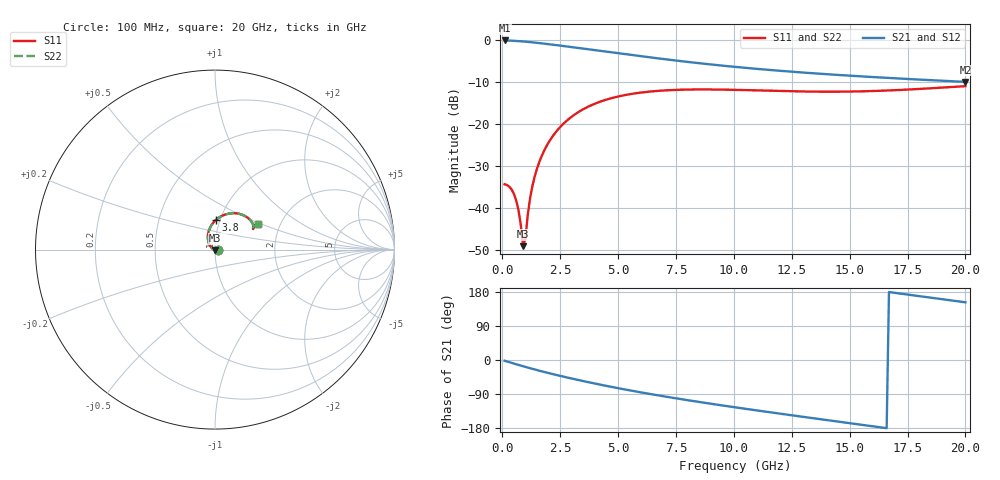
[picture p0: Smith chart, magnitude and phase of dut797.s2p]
! Touchstone file exported from HFSS 2024.1.0
!  File:  C:/UserFiles/LocalFiles/RDL_TSV_Batchsim/temp_RDL_TSV_797_1779909538.aedt
!  Generated:  03:33:20 AM May 28, 2026
!  Design:  RDL_TSV
!  Project:  temp_RDL_TSV_797_1779909538
!  Setup:  Setup1
!  Solution:  Sweep
! Variables:
!  dtsv = 10.74um
!  hbump = 3um
!  htsv = 93.68um
!  ldown = 563.17um
!  lrdl = 249.95um
!  p = 40
!  p1 = 47.62um
!  rhole = 10um
!  subl = 2689.31um
!  t = 450um
!  tdown = 2.55um
!  trdl = 3.53um
!  viad = 10um
!  wdown = 15.8um
!  wrdl = 25.09um
!  xbump = 18um
# GHz S MA R 50.000000
! Terminal data exported
! Port[1] = TM1_1_T1
! Port[2] = TM1_4_T1
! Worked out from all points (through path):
!   200 points, 100 MHz to 20 GHz, reference 50 ohm
!   highest |S21| = -0.17 dB at 100 MHz (marker M1); lowest = -10.0 dB at 20 GHz (marker M2)
!   group delay of S21, straight-line fit = 27 ps
!   lowest |S11| = -49.1 dB at 900 MHz (marker M3), VSWR 1.01, Z = 50 - j0.351 ohm
!   |S11| at or under -10 dB: start of sweep to end of sweep
!   |S22| runs from -49.1 to -11.1 dB; largest |S21 - S12| = 1.5e-14
!   S11 on the Smith chart (normalised r, x): 100 MHz: 1.04, -0.00; 3.8 GHz: 0.96, +0.32; 20 GHz: 1.54, +0.48
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0.1  0.01912 -2.5  0.9802 -1.9  0.9802 -1.9  0.01912 -2.5
! Gamma 0 0 0 0
! Port Impedance 50 0 50 0
0.4  0.01661 -13.5  0.9738 -7.6  0.9738 -7.6  0.01661 -13.5
0.6  0.0123 -24.9  0.967 -11.2  0.967 -11.2  0.01231 -24.9
0.7  0.009425 -33.4  0.9629 -13.0  0.9629 -13.0  0.009434 -33.5
0.8  0.006248 -48.1  0.9584 -14.8  0.9584 -14.8  0.006259 -48.1
0.9  0.00351 -87.0  0.9536 -16.6  0.9536 -16.6  0.00352 -86.8
1  0.004344 -156.6  0.9484 -18.3  0.9484 -18.3  0.004336 -156.3
1.1  0.00827 175.2  0.9429 -20.0  0.9429 -20.0  0.008253 175.3
1.2  0.01303 163.3  0.9372 -21.7  0.9372 -21.7  0.01301 163.4
1.3  0.01821 156.0  0.9312 -23.4  0.9312 -23.4  0.01818 156.0
1.5  0.02937 146.0  0.9187 -26.7  0.9187 -26.7  0.02933 146.0
1.7  0.04127 138.3  0.9057 -29.9  0.9057 -29.9  0.04123 138.3
2  0.05994 128.7  0.8855 -34.5  0.8855 -34.5  0.05989 128.7
2.4  0.08527 117.8  0.8582 -40.5  0.8582 -40.5  0.0852 117.8
3.5  0.1494 93.9  0.7844 -55.7  0.7844 -55.7  0.1493 93.9
3.8  0.1644 88.5  0.765 -59.6  0.765 -59.6  0.1642 88.5
5.1  0.2143 69.2  0.6858 -75.5  0.6858 -75.5  0.2141 69.2
6.8  0.2474 51.4  0.5968 -94.1  0.5968 -94.1  0.2472 51.3
10.1  0.2534 32.8  0.4742 -125.3  0.4742 -125.3  0.2532 32.8
13.4  0.2415 28.3  0.3996 -153.4  0.3996 -153.4  0.2414 28.2
16.7  0.2494 30.4  0.351 179.3  0.351 179.3  0.2493 30.2
20  0.2804 30.8  0.3153 152.2  0.3153 152.2  0.2801 30.6
